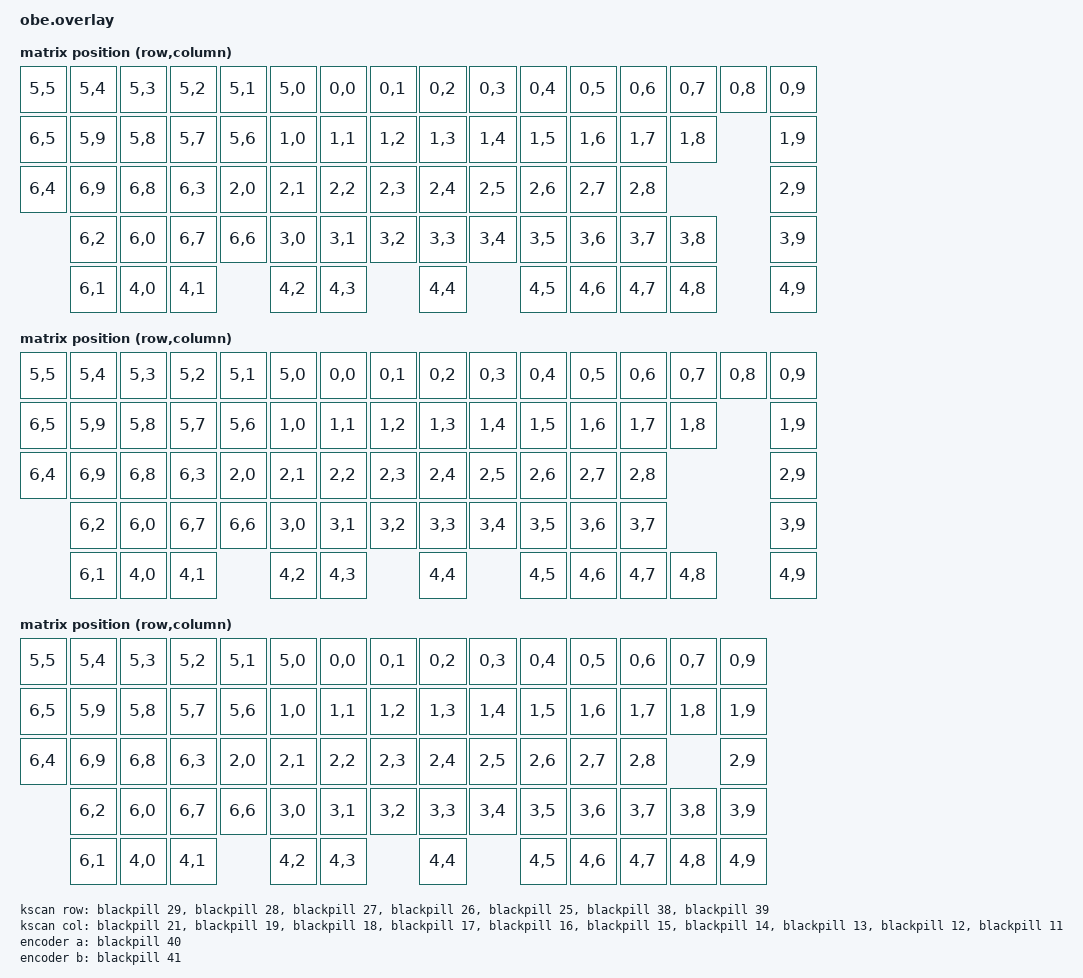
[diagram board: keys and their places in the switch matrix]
/*
 * Copyright (c) 2023 The ZMK Contributors
 *
 * SPDX-License-Identifier: MIT
 */

#include <dt-bindings/zmk/matrix_transform.h>
#include <dt-bindings/zmk/hid_usage.h>

#include "obe-layouts.dtsi"

/ {
    chosen {
        zmk,kscan = &kscan;
    };

    kscan: kscan {
        compatible = "zmk,kscan-gpio-matrix";
        wakeup-source;
        diode-direction = "col2row";
        row-gpios
            = <&blackpill 29 (GPIO_ACTIVE_HIGH | GPIO_PULL_DOWN)>
            , <&blackpill 28 (GPIO_ACTIVE_HIGH | GPIO_PULL_DOWN)>
            , <&blackpill 27 (GPIO_ACTIVE_HIGH | GPIO_PULL_DOWN)>
            , <&blackpill 26 (GPIO_ACTIVE_HIGH | GPIO_PULL_DOWN)>
            , <&blackpill 25 (GPIO_ACTIVE_HIGH | GPIO_PULL_DOWN)>
            , <&blackpill 38 (GPIO_ACTIVE_HIGH | GPIO_PULL_DOWN)>
            , <&blackpill 39 (GPIO_ACTIVE_HIGH | GPIO_PULL_DOWN)>
            ;
        col-gpios
            = <&blackpill 21 GPIO_ACTIVE_HIGH>
            , <&blackpill 19 GPIO_ACTIVE_HIGH>
            , <&blackpill 18 GPIO_ACTIVE_HIGH>
            , <&blackpill 17 GPIO_ACTIVE_HIGH>
            , <&blackpill 16 GPIO_ACTIVE_HIGH>
            , <&blackpill 15 GPIO_ACTIVE_HIGH>
            , <&blackpill 14 GPIO_ACTIVE_HIGH>
            , <&blackpill 13 GPIO_ACTIVE_HIGH>
            , <&blackpill 12 GPIO_ACTIVE_HIGH>
            , <&blackpill 11 GPIO_ACTIVE_HIGH>
            ;
    };

    default_transform: keymap_transform_0 {
        compatible = "zmk,matrix-transform";
        columns = <12>;
        rows = <4>;
        map = <
            RC(5,5) RC(5,4) RC(5,3) RC(5,2) RC(5,1) RC(5,0) RC(0,0) RC(0,1) RC(0,2) RC(0,3) RC(0,4) RC(0,5) RC(0,6) RC(0,7) RC(0,8) RC(0,9)
            RC(6,5) RC(5,9) RC(5,8) RC(5,7) RC(5,6) RC(1,0) RC(1,1) RC(1,2) RC(1,3) RC(1,4) RC(1,5) RC(1,6) RC(1,7) RC(1,8)         RC(1,9)
            RC(6,4) RC(6,9) RC(6,8) RC(6,3) RC(2,0) RC(2,1) RC(2,2) RC(2,3) RC(2,4) RC(2,5) RC(2,6) RC(2,7) RC(2,8)                 RC(2,9)
                    RC(6,2) RC(6,0) RC(6,7) RC(6,6) RC(3,0) RC(3,1) RC(3,2) RC(3,3) RC(3,4) RC(3,5) RC(3,6) RC(3,7) RC(3,8)         RC(3,9)
                    RC(6,1) RC(4,0) RC(4,1)         RC(4,2) RC(4,3)         RC(4,4)         RC(4,5) RC(4,6) RC(4,7) RC(4,8)         RC(4,9)
        >;
    };

    full_rshift_transform: keymap_transform_1 {
        compatible = "zmk,matrix-transform";
        columns = <12>;
        rows = <4>;
        map = <
            RC(5,5) RC(5,4) RC(5,3) RC(5,2) RC(5,1) RC(5,0) RC(0,0) RC(0,1) RC(0,2) RC(0,3) RC(0,4) RC(0,5) RC(0,6) RC(0,7) RC(0,8) RC(0,9)
            RC(6,5) RC(5,9) RC(5,8) RC(5,7) RC(5,6) RC(1,0) RC(1,1) RC(1,2) RC(1,3) RC(1,4) RC(1,5) RC(1,6) RC(1,7) RC(1,8)         RC(1,9)
            RC(6,4) RC(6,9) RC(6,8) RC(6,3) RC(2,0) RC(2,1) RC(2,2) RC(2,3) RC(2,4) RC(2,5) RC(2,6) RC(2,7) RC(2,8)                 RC(2,9)
                    RC(6,2) RC(6,0) RC(6,7) RC(6,6) RC(3,0) RC(3,1) RC(3,2) RC(3,3) RC(3,4) RC(3,5) RC(3,6) RC(3,7)                 RC(3,9)
                    RC(6,1) RC(4,0) RC(4,1)         RC(4,2) RC(4,3)         RC(4,4)         RC(4,5) RC(4,6) RC(4,7) RC(4,8)         RC(4,9)
        >;
    };

    full_backspace_transform: keymap_transform_2 {
        compatible = "zmk,matrix-transform";
        columns = <12>;
        rows = <4>;
        map = <
            RC(5,5) RC(5,4) RC(5,3) RC(5,2) RC(5,1) RC(5,0) RC(0,0) RC(0,1) RC(0,2) RC(0,3) RC(0,4) RC(0,5) RC(0,6) RC(0,7) RC(0,9)
            RC(6,5) RC(5,9) RC(5,8) RC(5,7) RC(5,6) RC(1,0) RC(1,1) RC(1,2) RC(1,3) RC(1,4) RC(1,5) RC(1,6) RC(1,7) RC(1,8) RC(1,9)
            RC(6,4) RC(6,9) RC(6,8) RC(6,3) RC(2,0) RC(2,1) RC(2,2) RC(2,3) RC(2,4) RC(2,5) RC(2,6) RC(2,7) RC(2,8)         RC(2,9)
                    RC(6,2) RC(6,0) RC(6,7) RC(6,6) RC(3,0) RC(3,1) RC(3,2) RC(3,3) RC(3,4) RC(3,5) RC(3,6) RC(3,7) RC(3,8) RC(3,9)
                    RC(6,1) RC(4,0) RC(4,1)         RC(4,2) RC(4,3)         RC(4,4)         RC(4,5) RC(4,6) RC(4,7) RC(4,8) RC(4,9)
        >;
    };

    full_backspace_full_rshift_transform: keymap_transform_3 {
        compatible = "zmk,matrix-transform";
        columns = <12>;
        rows = <4>;
        map = <
            RC(5,5) RC(5,4) RC(5,3) RC(5,2) RC(5,1) RC(5,0) RC(0,0) RC(0,1) RC(0,2) RC(0,3) RC(0,4) RC(0,5) RC(0,6) RC(0,7) RC(0,9)
            RC(6,5) RC(5,9) RC(5,8) RC(5,7) RC(5,6) RC(1,0) RC(1,1) RC(1,2) RC(1,3) RC(1,4) RC(1,5) RC(1,6) RC(1,7) RC(1,8) RC(1,9)
            RC(6,4) RC(6,9) RC(6,8) RC(6,3) RC(2,0) RC(2,1) RC(2,2) RC(2,3) RC(2,4) RC(2,5) RC(2,6) RC(2,7) RC(2,8)         RC(2,9)
                    RC(6,2) RC(6,0) RC(6,7) RC(6,6) RC(3,0) RC(3,1) RC(3,2) RC(3,3) RC(3,4) RC(3,5) RC(3,6) RC(3,7)         RC(3,9)
                    RC(6,1) RC(4,0) RC(4,1)         RC(4,2) RC(4,3)         RC(4,4)         RC(4,5) RC(4,6) RC(4,7) RC(4,8) RC(4,9)
        >;
    };

    encoder: encoder {
        compatible = "alps,ec11";
        a-gpios = <&blackpill 40 (GPIO_ACTIVE_LOW | GPIO_PULL_UP)>;
        b-gpios = <&blackpill 41 (GPIO_ACTIVE_LOW | GPIO_PULL_UP)>;
        steps = <80>;
        status = "disabled";
    };

    sensors: sensors {
        compatible = "zmk,keymap-sensors";
        sensors = <&encoder>;
        triggers-per-rotation = <20>;
    };

    indicator_leds: indicator_leds {
        compatible = "gpio-leds";
        left_led: led_0 {
            gpios = <&blackpill 46 GPIO_ACTIVE_HIGH>;
        };
        right_led: led_1 {
            gpios = <&blackpill 45 GPIO_ACTIVE_HIGH>;
        };
    };

    indicator_cfg {
        compatible = "mechwild,indicators";
        left_led_cfg: config1 {
            dev = <&left_led>;
            hid-indicators = <HID_USAGE_LED_NUM_LOCK>;
        };
        right_led_cfg: config2 {
            dev = <&right_led>;
            hid-indicators = <HID_USAGE_LED_CAPS_LOCK>;
        };
    };
};
